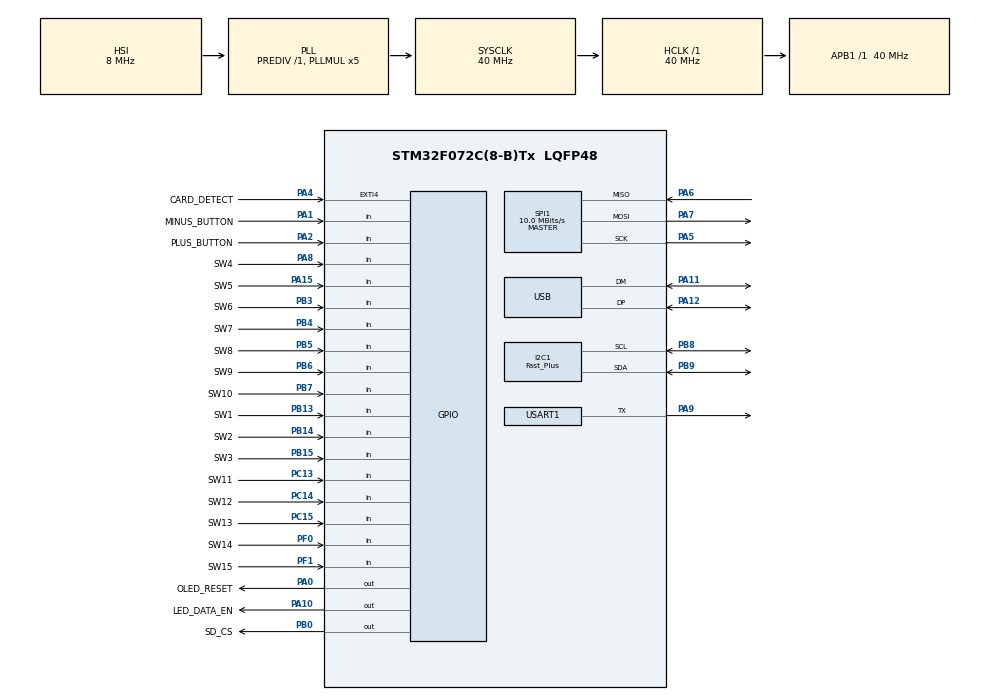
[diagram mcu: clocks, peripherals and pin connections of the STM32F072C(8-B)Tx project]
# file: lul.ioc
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FATFS._CODE_PAGE=1252
FATFS._FS_LOCK=0
FATFS._FS_NORTC=1
FATFS._FS_TINY=1
FATFS._LFN_UNICODE=0
FATFS._MAX_LFN=32
FATFS._USE_FIND=0
FATFS._USE_LFN=3
FATFS._USE_MKFS=0
I2C1.I2C_Speed_Mode=I2C_Fast_Plus
I2C1.Speed=1000
I2C1.Timing=0x00100618
Mcu.Family=STM32F0
Mcu.Name=STM32F072C(8-B)Tx
Mcu.Package=LQFP48
NVIC.EXTI4_15_IRQn=true\:3\:0\:true\:false\:true\:true\:true\:true
NVIC.TIM17_IRQn=true\:1\:0\:true\:false\:true\:true\:true\:true
NVIC.USB_IRQn=true\:3\:0\:true\:false\:true\:true\:true\:true
PA0.GPIO_Label=OLED_RESET
PA0.PinState=GPIO_PIN_RESET
PA0.Signal=GPIO_Output
PA1.GPIO_Label=MINUS_BUTTON
PA1.GPIO_PuPd=GPIO_PULLUP
PA1.Signal=GPIO_Input
PA10.GPIO_Label=LED_DATA_EN
PA10.Signal=GPIO_Output
PA11.Mode=Device
PA11.Signal=USB_DM
PA12.Mode=Device
PA12.Signal=USB_DP
PA13.Mode=Serial_Wire
PA13.Signal=SYS_SWDIO
PA14.Mode=Serial_Wire
PA14.Signal=SYS_SWCLK
PA15.GPIO_Label=SW5
PA15.GPIO_PuPd=GPIO_PULLUP
PA15.Signal=GPIO_Input
PA2.GPIO_Label=PLUS_BUTTON
PA2.GPIO_PuPd=GPIO_PULLUP
PA2.Signal=GPIO_Input
PA4.GPIO_Label=CARD_DETECT
PA4.GPIO_ModeDefaultEXTI=GPIO_MODE_IT_RISING_FALLING
PA4.GPIO_PuPd=GPIO_PULLUP
PA4.Signal=GPXTI4
PA5.Mode=Full_Duplex_Master
PA5.Signal=SPI1_SCK
PA6.Mode=Full_Duplex_Master
PA6.Signal=SPI1_MISO
PA7.Mode=Full_Duplex_Master
PA7.Signal=SPI1_MOSI
PA8.GPIO_Label=SW4
PA8.GPIO_PuPd=GPIO_PULLUP
PA8.Signal=GPIO_Input
PA9.Mode=Half_duplex(single_wire_mode)
PA9.Signal=USART1_TX
PB0.GPIO_Label=SD_CS
PB0.GPIO_PuPd=GPIO_NOPULL
PB0.PinState=GPIO_PIN_SET
PB0.Signal=GPIO_Output
PB13.GPIO_Label=SW1
PB13.GPIO_PuPd=GPIO_PULLUP
PB13.Signal=GPIO_Input
PB14.GPIO_Label=SW2
PB14.GPIO_PuPd=GPIO_PULLUP
PB14.Signal=GPIO_Input
PB15.GPIO_Label=SW3
PB15.GPIO_PuPd=GPIO_PULLUP
PB15.Signal=GPIO_Input
PB3.GPIO_Label=SW6
PB3.GPIO_PuPd=GPIO_PULLUP
PB3.Signal=GPIO_Input
PB4.GPIO_Label=SW7
PB4.GPIO_PuPd=GPIO_PULLUP
PB4.Signal=GPIO_Input
PB5.GPIO_Label=SW8
PB5.GPIO_PuPd=GPIO_PULLUP
PB5.Signal=GPIO_Input
PB6.GPIO_Label=SW9
PB6.GPIO_PuPd=GPIO_PULLUP
PB6.Signal=GPIO_Input
PB7.GPIO_Label=SW10
PB7.GPIO_PuPd=GPIO_PULLUP
PB7.Signal=GPIO_Input
PB8.GPIO_Pu=GPIO_PULLUP
PB8.Mode=I2C
PB8.Signal=I2C1_SCL
PB9.GPIO_Pu=GPIO_PULLUP
PB9.Mode=I2C
PB9.Signal=I2C1_SDA
PC13.GPIO_Label=SW11
PC13.GPIO_PuPd=GPIO_PULLUP
PC13.Signal=GPIO_Input
PC14-OSC32_IN.GPIO_Label=SW12
PC14-OSC32_IN.GPIO_PuPd=GPIO_PULLUP
PC14-OSC32_IN.Signal=GPIO_Input
PC15-OSC32_OUT.GPIO_Label=SW13
PC15-OSC32_OUT.GPIO_PuPd=GPIO_PULLUP
PC15-OSC32_OUT.Signal=GPIO_Input
PF0-OSC_IN.GPIO_Label=SW14
PF0-OSC_IN.GPIO_PuPd=GPIO_PULLUP
PF0-OSC_IN.Signal=GPIO_Input
PF1-OSC_OUT.GPIO_Label=SW15
PF1-OSC_OUT.GPIO_PuPd=GPIO_PULLUP
PF1-OSC_OUT.Signal=GPIO_Input
ProjectManager.HeapSize=0x400
ProjectManager.StackSize=0x600
ProjectManager.TargetToolchain=MDK-ARM V5.27
RCC.AHBFreq_Value=40000000
RCC.APB1Freq_Value=40000000
RCC.APB1TimFreq_Value=40000000
RCC.HCLKFreq_Value=40000000
RCC.I2c1ClockSelection=RCC_I2C1CLKSOURCE_SYSCLK
RCC.PLLMUL=RCC_PLL_MUL5
RCC.SYSCLKFreq_VALUE=40000000
RCC.SYSCLKSource=RCC_SYSCLKSOURCE_PLLCLK
RCC.Usart1ClockSelection=RCC_USART1CLKSOURCE_SYSCLK
RTC.AsynchPrediv=99
RTC.Format=RTC_FORMAT_BIN
RTC.SynchPrediv=399
SPI1.BaudRatePrescaler=SPI_BAUDRATEPRESCALER_4
SPI1.CalculateBaudRate=10.0 MBits/s
SPI1.DataSize=SPI_DATASIZE_8BIT
SPI1.Direction=SPI_DIRECTION_2LINES
SPI1.Mode=SPI_MODE_MASTER
SPI1.VirtualType=VM_MASTER
TIM17.Period=5000
TIM17.Prescaler=39
TIM2.Prescaler=39999
USART1.BaudRate=115200
USART1.Mode=MODE_TX
USART1.VirtualMode-Half_duplex(single_wire_mode)=VM_ASYNC
USART1.WordLength=WORDLENGTH_8B
USB_DEVICE.CLASS_NAME_FS=CUSTOM_HID
USB_DEVICE.MANUFACTURER_STRING=dekuNukem
USB_DEVICE.PID_CUSTOMHID_FS=0xd11c
USB_DEVICE.PRODUCT_STRING_CUSTOMHID_FS=duckyPad(2020)
USB_DEVICE.USBD_CUSTOMHID_OUTREPORT_BUF_SIZE=64
USB_DEVICE.USBD_CUSTOM_HID_REPORT_DESC_SIZE=208
USB_DEVICE.VID=0x483
USB_DEVICE.VirtualMode=CustomHid
USB_DEVICE.VirtualModeFS=Custom_Hid_FS
VP_FATFS_VS_Generic.Mode=User_defined
VP_RTC_VS_RTC_Activate.Mode=RTC_Enabled
VP_RTC_VS_RTC_Calendar.Mode=RTC_Calendar
VP_TIM17_VS_ClockSourceINT.Mode=Enable_Timer
VP_TIM2_VS_ClockSourceINT.Mode=Internal
VP_USB_DEVICE_VS_USB_DEVICE_CUSTOM_HID_FS.Mode=CUSTOM_HID_FS
board=lul

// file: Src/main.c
/* USER CODE BEGIN Header */
/**
  ******************************************************************************
  * @file           : main.c
  * @brief          : Main program body
  ******************************************************************************
  * @attention
  *
  * Copyright (c) 2024 STMicroelectronics.
  * All rights reserved.
  *
  * This software is licensed under terms that can be found in the LICENSE file
  * in the root directory of this software component.
  * If no LICENSE file comes with this software, it is provided AS-IS.
  *
  ******************************************************************************
  */
/* USER CODE END Header */
#include "main.h"
#include "fatfs.h"
#include "usb_device.h"

/* USER CODE BEGIN Includes */

// #include <stdio.h>
// #include <string.h>
// #include <stdlib.h>
#include <stdint.h>
#include "fonts.h"
#include "ssd1306.h"
#include "sd_util.h"
#include "cQueue.h"
#include "input_task.h"
#include "shared.h"
#include "neopixel.h"
#include "ui_task.h"
#include "profiles.h"
#include "keypress_task.h"
#include "hid_task.h"
#include "keyboard.h"
#include "dsb_cache.h"

/*
menu bar:
project
manage
runtime environment
compiler
IO
set all to user
check box, press save
add code below
*/

/* USER CODE END Includes */

I2C_HandleTypeDef hi2c1;

RTC_HandleTypeDef hrtc;

SPI_HandleTypeDef hspi1;

TIM_HandleTypeDef htim2;
TIM_HandleTypeDef htim17;

UART_HandleTypeDef huart1;

/* USER CODE BEGIN PV */

/*
  Version History

  Apr 4 2025
  2.0.0
  DPP Backport beta public release

  May 23 2025
  2.1.0
  Added key caching

  June 29 2025
  2.2.0
  Expanded Persistent Global Variables to 32
  Fixed a bug that caused PGV to not work
  Added HID read and write of PGVs

  July 8 2025
  2.3.2
  Fixed a bug where HID buffer was not properly cleared
  reverted to old settings save function to reduce SD card corruption

  Jan 18 2026
  3.0.0
  Porting DSVM2

  Jan 26 2026
  3.0.1
  Fixed Linux empty HID packet bug
  Removed unused USART3 code

  Jan 28 2026
  3.0.2
  fixed RTC update hang
  faster OLED drawing
  only draw rtc icon when not sleeping
  only draws keyboard LED indicator when USB is connected

	Mar 1 2026
	3.0.3
	Fixed `GOTO_PROFILE` not working

  Mar 15 2026
  3.0.4
  Increased Anykey-to-Abort check frequency

*/

uint32_t current_tick;

uint8_t fw_version_major = 3;
uint8_t fw_version_minor = 0;
uint8_t fw_version_patch = 4;
uint8_t dsvm_version = 2;

/* USER CODE END PV */

void SystemClock_Config(void);
static void MX_GPIO_Init(void);
static void MX_USART1_UART_Init(void);
static void MX_SPI1_Init(void);
static void MX_I2C1_Init(void);
static void MX_TIM17_Init(void);
static void MX_TIM2_Init(void);
static void MX_RTC_Init(void);

/* USER CODE BEGIN 0 */
int fputc(int ch, FILE *f)
{
  HAL_UART_Transmit(&huart1, (unsigned char *)&ch, 1, 100);
  return ch;
}

// happens every 5ms
void HAL_TIM_PeriodElapsedCallback(TIM_HandleTypeDef *htim)
{
	current_tick++;
  if(current_tick % 2 == 0)
    kb_scan_task();
  if(current_tick % 4 == 0)
    led_animation_handler();
}

// SD card eject interrupt
void HAL_GPIO_EXTI_Callback(uint16_t GPIO_Pin)
{
  NVIC_SystemReset();
}

/* USER CODE END 0 */

int main(void)
{

  /* MCU Configuration--------------------------------------------------------*/

  /* Reset of all peripherals, Initializes the Flash interface and the Systick. */
  HAL_Init();

  /* Configure the system clock */
  SystemClock_Config();

  /* Initialize all configured peripherals */
  MX_GPIO_Init();
  MX_USART1_UART_Init();
  MX_SPI1_Init();
  MX_FATFS_Init();
  MX_I2C1_Init();
  MX_USB_DEVICE_Init();
  MX_TIM17_Init();
  MX_TIM2_Init();
  MX_RTC_Init();
  /* USER CODE BEGIN 2 */
	HAL_TIM_Base_Start_IT(&htim17);
  HAL_TIM_Base_Start(&htim2);
  /* USER CODE END 2 */

  /* Infinite loop */
  /* USER CODE BEGIN WHILE */
  oled_reset();
  neopixel_off();
  ssd1306_Init();
  led_animation_init();
  switch_init();
  printf("duckyPad EVO v%d.%d.%d\n", fw_version_major, fw_version_minor, fw_version_patch);

  if(mount_sd())
  {
    draw_nosd();
    idle_loop();
  }

  ensure_new_profile_format();

  if(scan_profiles())
  {
    draw_noprofile();
    idle_loop();
  }

  load_settings(&dp_settings);
  load_keymap_by_name(dp_settings.current_kb_layout);
  load_gv();
  profile_init();
  keypress_task();

  // we should never get here
  while (1)
  {
    delay_ms(100);
    /* USER CODE END WHILE */

  }
}

void SystemClock_Config(void)
{
  RCC_OscInitTypeDef RCC_OscInitStruct = {0};
  RCC_ClkInitTypeDef RCC_ClkInitStruct = {0};
  RCC_PeriphCLKInitTypeDef PeriphClkInit = {0};

  /** Initializes the RCC Oscillators according to the specified parameters
  * in the RCC_OscInitTypeDef structure.
  */
  RCC_OscInitStruct.OscillatorType = RCC_OSCILLATORTYPE_HSI|RCC_OSCILLATORTYPE_HSI48
                              |RCC_OSCILLATORTYPE_LSI;
  RCC_OscInitStruct.HSIState = RCC_HSI_ON;
  RCC_OscInitStruct.HSI48State = RCC_HSI48_ON;
  RCC_OscInitStruct.HSICalibrationValue = RCC_HSICALIBRATION_DEFAULT;
  RCC_OscInitStruct.LSIState = RCC_LSI_ON;
  RCC_OscInitStruct.PLL.PLLState = RCC_PLL_ON;
  RCC_OscInitStruct.PLL.PLLSource = RCC_PLLSOURCE_HSI;
  RCC_OscInitStruct.PLL.PLLMUL = RCC_PLL_MUL5;
  RCC_OscInitStruct.PLL.PREDIV = RCC_PREDIV_DIV1;
  if (HAL_RCC_OscConfig(&RCC_OscInitStruct) != HAL_OK)
  {
    Error_Handler();
  }

  /** Initializes the CPU, AHB and APB buses clocks
  */
  RCC_ClkInitStruct.ClockType = RCC_CLOCKTYPE_HCLK|RCC_CLOCKTYPE_SYSCLK
                              |RCC_CLOCKTYPE_PCLK1;
  RCC_ClkInitStruct.SYSCLKSource = RCC_SYSCLKSOURCE_PLLCLK;
  RCC_ClkInitStruct.AHBCLKDivider = RCC_SYSCLK_DIV1;
  RCC_ClkInitStruct.APB1CLKDivider = RCC_HCLK_DIV1;

  if (HAL_RCC_ClockConfig(&RCC_ClkInitStruct, FLASH_LATENCY_1) != HAL_OK)
  {
    Error_Handler();
  }
  PeriphClkInit.PeriphClockSelection = RCC_PERIPHCLK_USB|RCC_PERIPHCLK_USART1
                              |RCC_PERIPHCLK_I2C1|RCC_PERIPHCLK_RTC;
  PeriphClkInit.Usart1ClockSelection = RCC_USART1CLKSOURCE_SYSCLK;
  PeriphClkInit.I2c1ClockSelection = RCC_I2C1CLKSOURCE_SYSCLK;
  PeriphClkInit.RTCClockSelection = RCC_RTCCLKSOURCE_LSI;
  PeriphClkInit.UsbClockSelection = RCC_USBCLKSOURCE_HSI48;

  if (HAL_RCCEx_PeriphCLKConfig(&PeriphClkInit) != HAL_OK)
  {
    Error_Handler();
  }
}

static void MX_I2C1_Init(void)
{

  hi2c1.Instance = I2C1;
  hi2c1.Init.Timing = 0x00100618;
  hi2c1.Init.OwnAddress1 = 0;
  hi2c1.Init.AddressingMode = I2C_ADDRESSINGMODE_7BIT;
  hi2c1.Init.DualAddressMode = I2C_DUALADDRESS_DISABLE;
  hi2c1.Init.OwnAddress2 = 0;
  hi2c1.Init.OwnAddress2Masks = I2C_OA2_NOMASK;
  hi2c1.Init.GeneralCallMode = I2C_GENERALCALL_DISABLE;
  hi2c1.Init.NoStretchMode = I2C_NOSTRETCH_DISABLE;
  if (HAL_I2C_Init(&hi2c1) != HAL_OK)
  {
    Error_Handler();
  }

  /** Configure Analogue filter
  */
  if (HAL_I2CEx_ConfigAnalogFilter(&hi2c1, I2C_ANALOGFILTER_ENABLE) != HAL_OK)
  {
    Error_Handler();
  }

  /** Configure Digital filter
  */
  if (HAL_I2CEx_ConfigDigitalFilter(&hi2c1, 0) != HAL_OK)
  {
    Error_Handler();
  }
  /* USER CODE BEGIN I2C1_Init 2 */
  __HAL_SYSCFG_FASTMODEPLUS_ENABLE(I2C_FASTMODEPLUS_I2C1);

  /* USER CODE END I2C1_Init 2 */

}

static void MX_RTC_Init(void)
{

  RTC_TimeTypeDef sTime = {0};
  RTC_DateTypeDef sDate = {0};

  /** Initialize RTC Only
  */
  hrtc.Instance = RTC;
  hrtc.Init.HourFormat = RTC_HOURFORMAT_24;
  hrtc.Init.AsynchPrediv = 99;
  hrtc.Init.SynchPrediv = 399;
  hrtc.Init.OutPut = RTC_OUTPUT_DISABLE;
  hrtc.Init.OutPutPolarity = RTC_OUTPUT_POLARITY_HIGH;
  hrtc.Init.OutPutType = RTC_OUTPUT_TYPE_OPENDRAIN;
  if (HAL_RTC_Init(&hrtc) != HAL_OK)
  {
    Error_Handler();
  }

  /* USER CODE BEGIN Check_RTC_BKUP */
  return;

  /* USER CODE END Check_RTC_BKUP */

  /** Initialize RTC and set the Time and Date
  */
  sTime.Hours = 0;
  sTime.Minutes = 0;
  sTime.Seconds = 0;
  sTime.DayLightSaving = RTC_DAYLIGHTSAVING_NONE;
  sTime.StoreOperation = RTC_STOREOPERATION_RESET;
  if (HAL_RTC_SetTime(&hrtc, &sTime, RTC_FORMAT_BIN) != HAL_OK)
  {
    Error_Handler();
  }
  sDate.WeekDay = RTC_WEEKDAY_MONDAY;
  sDate.Month = RTC_MONTH_JANUARY;
  sDate.Date = 1;
  sDate.Year = 0;

  if (HAL_RTC_SetDate(&hrtc, &sDate, RTC_FORMAT_BIN) != HAL_OK)
  {
    Error_Handler();
  }

}

static void MX_SPI1_Init(void)
{

  /* SPI1 parameter configuration*/
  hspi1.Instance = SPI1;
  hspi1.Init.Mode = SPI_MODE_MASTER;
  hspi1.Init.Direction = SPI_DIRECTION_2LINES;
  hspi1.Init.DataSize = SPI_DATASIZE_8BIT;
  hspi1.Init.CLKPolarity = SPI_POLARITY_LOW;
  hspi1.Init.CLKPhase = SPI_PHASE_1EDGE;
  hspi1.Init.NSS = SPI_NSS_SOFT;
  hspi1.Init.BaudRatePrescaler = SPI_BAUDRATEPRESCALER_4;
  hspi1.Init.FirstBit = SPI_FIRSTBIT_MSB;
  hspi1.Init.TIMode = SPI_TIMODE_DISABLE;
  hspi1.Init.CRCCalculation = SPI_CRCCALCULATION_DISABLE;
  hspi1.Init.CRCPolynomial = 7;
  hspi1.Init.CRCLength = SPI_CRC_LENGTH_DATASIZE;
  hspi1.Init.NSSPMode = SPI_NSS_PULSE_ENABLE;
  if (HAL_SPI_Init(&hspi1) != HAL_OK)
  {
    Error_Handler();
  }

}

static void MX_TIM2_Init(void)
{

  TIM_ClockConfigTypeDef sClockSourceConfig = {0};
  TIM_MasterConfigTypeDef sMasterConfig = {0};

  htim2.Instance = TIM2;
  htim2.Init.Prescaler = 39999;
  htim2.Init.CounterMode = TIM_COUNTERMODE_UP;
  htim2.Init.Period = 4294967295;
  htim2.Init.ClockDivision = TIM_CLOCKDIVISION_DIV1;
  htim2.Init.AutoReloadPreload = TIM_AUTORELOAD_PRELOAD_DISABLE;
  if (HAL_TIM_Base_Init(&htim2) != HAL_OK)
  {
    Error_Handler();
  }
  sClockSourceConfig.ClockSource = TIM_CLOCKSOURCE_INTERNAL;
  if (HAL_TIM_ConfigClockSource(&htim2, &sClockSourceConfig) != HAL_OK)
  {
    Error_Handler();
  }
  sMasterConfig.MasterOutputTrigger = TIM_TRGO_RESET;
  sMasterConfig.MasterSlaveMode = TIM_MASTERSLAVEMODE_DISABLE;
  if (HAL_TIMEx_MasterConfigSynchronization(&htim2, &sMasterConfig) != HAL_OK)
  {
    Error_Handler();
  }

}

static void MX_TIM17_Init(void)
{

  htim17.Instance = TIM17;
  htim17.Init.Prescaler = 39;
  htim17.Init.CounterMode = TIM_COUNTERMODE_UP;
  htim17.Init.Period = 5000;
  htim17.Init.ClockDivision = TIM_CLOCKDIVISION_DIV1;
  htim17.Init.RepetitionCounter = 0;
  htim17.Init.AutoReloadPreload = TIM_AUTORELOAD_PRELOAD_DISABLE;
  if (HAL_TIM_Base_Init(&htim17) != HAL_OK)
  {
    Error_Handler();
  }

}

static void MX_USART1_UART_Init(void)
{

  huart1.Instance = USART1;
  huart1.Init.BaudRate = 115200;
  huart1.Init.WordLength = UART_WORDLENGTH_8B;
  huart1.Init.StopBits = UART_STOPBITS_1;
  huart1.Init.Parity = UART_PARITY_NONE;
  huart1.Init.Mode = UART_MODE_TX;
  huart1.Init.HwFlowCtl = UART_HWCONTROL_NONE;
  huart1.Init.OverSampling = UART_OVERSAMPLING_16;
  huart1.Init.OneBitSampling = UART_ONE_BIT_SAMPLE_DISABLE;
  huart1.AdvancedInit.AdvFeatureInit = UART_ADVFEATURE_NO_INIT;
  if (HAL_HalfDuplex_Init(&huart1) != HAL_OK)
  {
    Error_Handler();
  }

}

static void MX_GPIO_Init(void)
{
  GPIO_InitTypeDef GPIO_InitStruct = {0};

  /* GPIO Ports Clock Enable */
  __HAL_RCC_GPIOC_CLK_ENABLE();
  __HAL_RCC_GPIOF_CLK_ENABLE();
  __HAL_RCC_GPIOA_CLK_ENABLE();
  __HAL_RCC_GPIOB_CLK_ENABLE();

  /*Configure GPIO pin Output Level */
  HAL_GPIO_WritePin(GPIOA, OLED_RESET_Pin|LED_DATA_EN_Pin, GPIO_PIN_RESET);

  /*Configure GPIO pin Output Level */
  HAL_GPIO_WritePin(SD_CS_GPIO_Port, SD_CS_Pin, GPIO_PIN_SET);

  /*Configure GPIO pins : SW11_Pin SW12_Pin SW13_Pin */
  GPIO_InitStruct.Pin = SW11_Pin|SW12_Pin|SW13_Pin;
  GPIO_InitStruct.Mode = GPIO_MODE_INPUT;
  GPIO_InitStruct.Pull = GPIO_PULLUP;
  HAL_GPIO_Init(GPIOC, &GPIO_InitStruct);

  /*Configure GPIO pins : SW14_Pin SW15_Pin */
  GPIO_InitStruct.Pin = SW14_Pin|SW15_Pin;
  GPIO_InitStruct.Mode = GPIO_MODE_INPUT;
  GPIO_InitStruct.Pull = GPIO_PULLUP;
  HAL_GPIO_Init(GPIOF, &GPIO_InitStruct);

  /*Configure GPIO pins : OLED_RESET_Pin LED_DATA_EN_Pin */
  GPIO_InitStruct.Pin = OLED_RESET_Pin|LED_DATA_EN_Pin;
  GPIO_InitStruct.Mode = GPIO_MODE_OUTPUT_PP;
  GPIO_InitStruct.Pull = GPIO_NOPULL;
  GPIO_InitStruct.Speed = GPIO_SPEED_FREQ_LOW;
  HAL_GPIO_Init(GPIOA, &GPIO_InitStruct);

  /*Configure GPIO pins : MINUS_BUTTON_Pin PLUS_BUTTON_Pin SW4_Pin SW5_Pin */
  GPIO_InitStruct.Pin = MINUS_BUTTON_Pin|PLUS_BUTTON_Pin|SW4_Pin|SW5_Pin;
  GPIO_InitStruct.Mode = GPIO_MODE_INPUT;
  GPIO_InitStruct.Pull = GPIO_PULLUP;
  HAL_GPIO_Init(GPIOA, &GPIO_InitStruct);

  /*Configure GPIO pin : CARD_DETECT_Pin */
  GPIO_InitStruct.Pin = CARD_DETECT_Pin;
  GPIO_InitStruct.Mode = GPIO_MODE_IT_RISING_FALLING;
  GPIO_InitStruct.Pull = GPIO_PULLUP;
  HAL_GPIO_Init(CARD_DETECT_GPIO_Port, &GPIO_InitStruct);

  /*Configure GPIO pin : SD_CS_Pin */
  GPIO_InitStruct.Pin = SD_CS_Pin;
  GPIO_InitStruct.Mode = GPIO_MODE_OUTPUT_PP;
  GPIO_InitStruct.Pull = GPIO_NOPULL;
  GPIO_InitStruct.Speed = GPIO_SPEED_FREQ_LOW;
  HAL_GPIO_Init(SD_CS_GPIO_Port, &GPIO_InitStruct);

  /*Configure GPIO pins : SW1_Pin SW2_Pin SW3_Pin SW6_Pin
                           SW7_Pin SW8_Pin SW9_Pin SW10_Pin */
  GPIO_InitStruct.Pin = SW1_Pin|SW2_Pin|SW3_Pin|SW6_Pin
                          |SW7_Pin|SW8_Pin|SW9_Pin|SW10_Pin;
  GPIO_InitStruct.Mode = GPIO_MODE_INPUT;
  GPIO_InitStruct.Pull = GPIO_PULLUP;
  HAL_GPIO_Init(GPIOB, &GPIO_InitStruct);

  /* EXTI interrupt init*/
  HAL_NVIC_SetPriority(EXTI4_15_IRQn, 3, 0);
  HAL_NVIC_EnableIRQ(EXTI4_15_IRQn);

}

void Error_Handler(void)
{
  __disable_irq();
  while (1)
  {
  }
}
